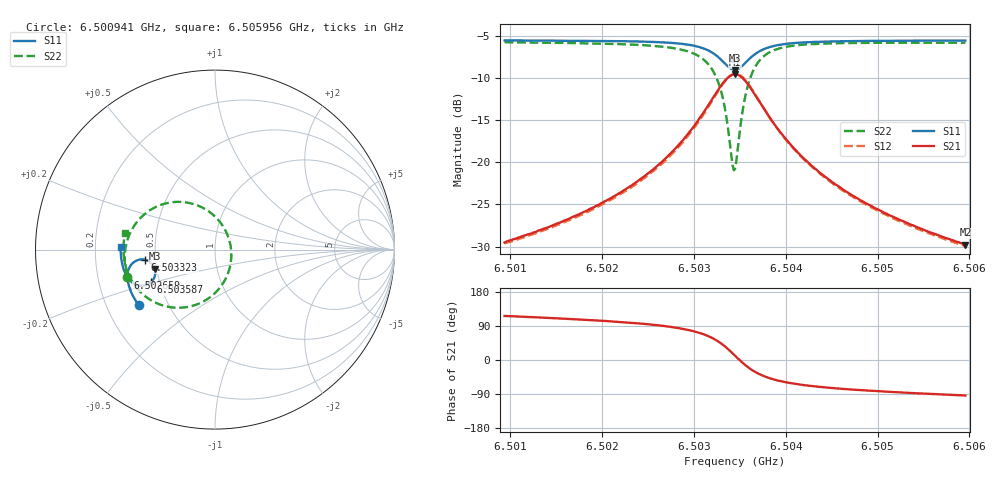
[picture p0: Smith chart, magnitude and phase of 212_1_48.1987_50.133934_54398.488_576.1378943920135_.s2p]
#  HZ  S  RI  R  50.00
! Rohde & Schwarz Vector Network Analyzer
! Rohde-Schwarz,ZNB20-2Port,1311601062101988,3.16
! Created: UTC 3/20/2024, 11:45:34 AM
! freq[Hz]  re:S11  im:S11  re:S21  im:S21  re:S12  im:S12  re:S22  im:S22
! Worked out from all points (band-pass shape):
!   401 points, 6.500941 GHz to 6.505956 GHz, reference 50 ohm
!   highest |S21| = -9.58 dB at 6.503449 GHz (marker M1); lowest = -29.8 dB at 6.505956 GHz (marker M2)
!   |S21| within 3 dB of the highest: 6.503197 GHz to 6.5037 GHz (502.6 kHz wide, 0.00773 % of centre)
!   lowest |S11| = -9.1 dB at 6.503449 GHz (marker M3), VSWR 2.09, Z = 24.4 - j5.93 ohm
!   |S11| at or under -10 dB: nowhere
!   |S22| runs from -21.0 to -5.8 dB; largest |S21 - S12| = 0.012
!   S11 on the Smith chart (normalised r, x): 6.500941 GHz: 0.34, -0.29; 6.502659 GHz: 0.33, -0.14; 6.503323 GHz: 0.44, -0.06; 6.503587 GHz: 0.45, -0.19; 6.505956 GHz: 0.31, +0.01
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6.5009408e9  -0.4259 -0.3095  -0.0148 0.03  -0.0132 0.0302  -0.4896 -0.155
6.5017809e9  -0.4621 -0.2474  -0.0142 0.048  -0.0118 0.0475  -0.503 -0.0657
6.5022198e9  -0.4775 -0.2088  -0.0116 0.066  -0.00862 0.0649  -0.5004 -0.0039
6.5026211e9  -0.4872 -0.1647  -0.00213 0.0969  0.00149 0.0948  -0.4801 0.0757
6.5026587e9  -0.4877 -0.1598  -0.000475 0.1012  0.00338 0.0987  -0.4762 0.0853
6.5029345e9  -0.4836 -0.1169  0.0266 0.1439  0.0303 0.1394  -0.4202 0.1712
6.5031226e9  -0.4619 -0.0787  0.0812 0.1861  0.0837 0.1799  -0.3156 0.2438
6.5032355e9  -0.429 -0.0581  0.151 0.2033  0.1518 0.1972  -0.19 0.2657
6.5033233e9  -0.3883 -0.0567  0.2311 0.1867  0.2314 0.1817  -0.0518 0.224
6.503411e9  -0.3465 -0.085  0.3079 0.1137  0.3101 0.109  0.0703 0.0802
6.5034361e9  -0.3386 -0.0989  0.321 0.0826  0.324 0.0771  0.0868 0.0216
6.5034486e9  -0.3359 -0.1065  0.3251 0.0661  0.3285 0.06  0.0907 -0.00926
6.5034737e9  -0.3329 -0.1223  0.3286 0.0321  0.332 0.0249  0.0882 -0.0711
6.5035364e9  -0.3403 -0.1597  0.31 -0.0463  0.3119 -0.0564  0.0313 -0.2071
6.5035866e9  -0.3569 -0.1818  0.2761 -0.0917  0.2756 -0.1032  -0.0457 -0.2781
6.5036994e9  -0.4015 -0.2011  0.1912 -0.1365  0.1858 -0.1462  -0.2178 -0.3237
6.5038624e9  -0.4477 -0.1915  0.109 -0.1333  0.1019 -0.1383  -0.3658 -0.2765
6.504038e9  -0.4754 -0.1701  0.0642 -0.113  0.058 -0.1151  -0.4381 -0.2112
6.5042888e9  -0.496 -0.1402  0.0342 -0.0882  0.0293 -0.0888  -0.4816 -0.1386
6.5046775e9  -0.5121 -0.0997  0.0145 -0.0645  0.0113 -0.064  -0.5044 -0.0614
6.5051289e9  -0.5211 -0.0581  0.00508 -0.0483  0.00278 -0.0475  -0.5101 0.00231
6.5059565e9  -0.5259 0.0122  -0.00211 -0.0324  -0.00339 -0.0316  -0.5026 0.0898
